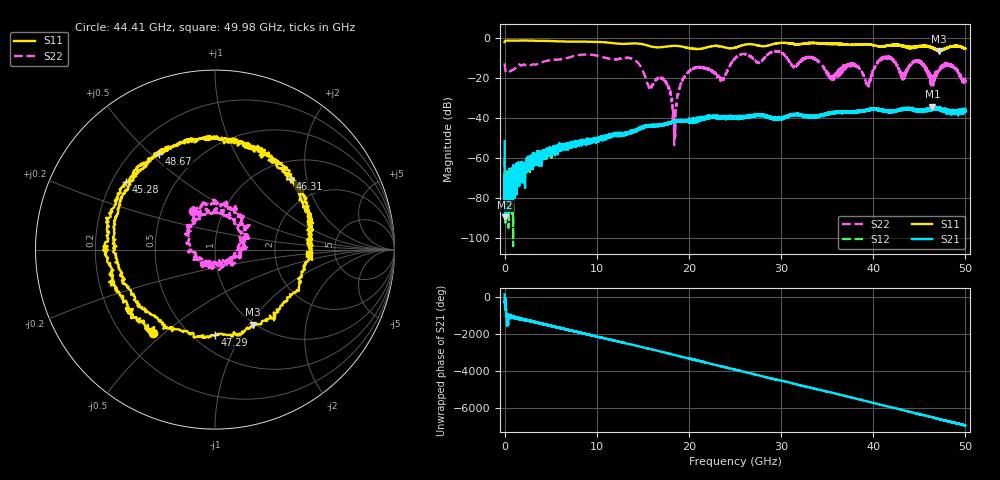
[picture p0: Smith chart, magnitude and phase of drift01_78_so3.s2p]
!Created with skrf (http://scikit-rf.org).
# Hz S RI R 50.0
!freq ReS11 ImS11 ReS21 ImS21 ReS12 ImS12 ReS22 ImS22
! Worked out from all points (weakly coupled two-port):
!   10001 points, 300 kHz to 50 GHz, reference 50 ohm
!   highest |S21| = -34.42 dB at 46.43 GHz (marker M1); lowest = -89.6 dB at 45.3 MHz (marker M2)
!   lowest |S11| = -6.6 dB at 47.12 GHz (marker M3), VSWR 2.76, Z = 49 - j52.5 ohm
!   |S11| at or under -10 dB: nowhere
!   |S22| runs from -53.5 to -6.6 dB; largest |S21 - S12| = 0.0039
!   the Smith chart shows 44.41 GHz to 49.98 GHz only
!   S11 on the Smith chart (normalised r, x): 44.41 GHz: 0.33, -0.46; 45.28 GHz: 0.26, +0.32; 46.31 GHz: 1.36, +1.59; 47.29 GHz: 0.63, -0.78; 48.67 GHz: 0.31, +0.53; 49.98 GHz: 3.20, -0.24
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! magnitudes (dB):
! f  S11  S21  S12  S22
! 300 kHz  -2.1  -51.6  -60.1  -12.8
! 45.3 MHz  -1.7  -89.6  -74.3  -14.9
! 255.3 MHz  -1.4  -72.9  -77.8  -17.5
! 8.335 GHz  -1.9  -52.0  -53.0  -8.5
! 16.67 GHz  -4.8  -43.6  -43.5  -19.9
! 18.45 GHz  -4.1  -42.0  -41.6  -42.3
! 19.97 GHz  -5.1  -41.5  -41.3  -16.9
! 23.64 GHz  -4.5  -39.3  -39.6  -20.5
! 25 GHz  -5.0  -39.6  -39.9  -10.2
! 33.34 GHz  -2.6  -39.4  -39.4  -10.0
! 39.43 GHz  -3.3  -36.1  -36.0  -23.3
! 41.67 GHz  -3.9  -36.8  -36.3  -10.1
! 43.24 GHz  -4.1  -35.4  -35.4  -19.0
! 44.41 GHz  -4.7  -36.0  -36.0  -12.1
! 45.28 GHz  -4.1  -36.5  -36.4  -12.4
! 46.31 GHz  -4.8  -35.4  -36.0  -21.5
! 46.43 GHz  -5.3  -34.4  -35.3  -19.8
! 47.12 GHz  -6.6  -34.7  -35.5  -15.6
! 47.29 GHz  -6.4  -35.2  -35.8  -14.8
! 48.67 GHz  -4.2  -37.2  -36.3  -14.2
! 49.98 GHz  -5.6  -35.3  -36.3  -21.4
! 50 GHz  -5.4  -36.8  -36.7  -22.0
